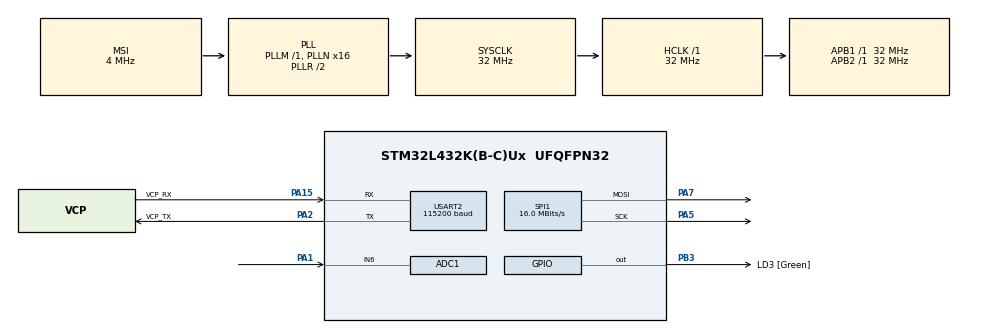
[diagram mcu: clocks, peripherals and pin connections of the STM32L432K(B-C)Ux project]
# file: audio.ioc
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ADC1.Channel-0\#ChannelRegularConversion=ADC_CHANNEL_6
ADC1.ExternalTrigConv=ADC_EXTERNALTRIG_T1_TRGO
ADC1.NbrOfConversionFlag=1
ADC1.OffsetNumber-0\#ChannelRegularConversion=ADC_OFFSET_NONE
ADC1.Rank-0\#ChannelRegularConversion=1
ADC1.Resolution=ADC_RESOLUTION_8B
ADC1.SamplingTime-0\#ChannelRegularConversion=ADC_SAMPLETIME_2CYCLES_5
ADC1.master=1
Mcu.Family=STM32L4
Mcu.Name=STM32L432K(B-C)Ux
Mcu.Package=UFQFPN32
NVIC.ADC1_IRQn=true\:0\:0\:false\:false\:true\:true\:true\:true
NVIC.PriorityGroup=NVIC_PRIORITYGROUP_4
PA0.GPIO_Label=MCO [High speed clock in]
PA0.Mode=HSE-External-Clock-Source-for-LittleOrca
PA0.Signal=RCC_CK_IN
PA1.Signal=ADCx_IN6
PA13\ (JTMS-SWDIO).GPIO_Label=SWDIO
PA13\ (JTMS-SWDIO).Mode=Serial_Wire
PA13\ (JTMS-SWDIO).Signal=SYS_JTMS-SWDIO
PA14\ (JTCK-SWCLK).GPIO_Label=SWCLK
PA14\ (JTCK-SWCLK).Mode=Serial_Wire
PA14\ (JTCK-SWCLK).Signal=SYS_JTCK-SWCLK
PA15\ (JTDI).GPIO_Label=VCP_RX
PA15\ (JTDI).Mode=Asynchronous
PA15\ (JTDI).Signal=USART2_RX
PA2.GPIO_Label=VCP_TX
PA2.Mode=Asynchronous
PA2.Signal=USART2_TX
PA5.Mode=TX_Only_Simplex_Unidirect_Master
PA5.Signal=SPI1_SCK
PA7.Mode=TX_Only_Simplex_Unidirect_Master
PA7.Signal=SPI1_MOSI
PB3\ (JTDO-TRACESWO).GPIO_Label=LD3 [Green]
PB3\ (JTDO-TRACESWO).Signal=GPIO_Output
PC14-OSC32_IN\ (PC14).Mode=LSE-External-Oscillator
PC14-OSC32_IN\ (PC14).Signal=RCC_OSC32_IN
PC15-OSC32_OUT\ (PC15).Mode=LSE-External-Oscillator
PC15-OSC32_OUT\ (PC15).Signal=RCC_OSC32_OUT
ProjectManager.HeapSize=0x200
ProjectManager.StackSize=0x400
ProjectManager.TargetToolchain=STM32CubeIDE
RCC.ADCFreq_Value=32000000
RCC.AHBFreq_Value=32000000
RCC.APB1Freq_Value=32000000
RCC.APB1TimFreq_Value=32000000
RCC.APB2Freq_Value=32000000
RCC.APB2TimFreq_Value=32000000
RCC.CortexFreq_Value=32000000
RCC.HCLKFreq_Value=32000000
RCC.HSE_VALUE=8000000
RCC.HSI16_VALUE=16000000
RCC.HSI48_VALUE=48000000
RCC.HSI_VALUE=16000000
RCC.MSI_VALUE=4000000
RCC.PLLMUL=RCC_PLLMUL_4
RCC.PLLN=16
RCC.PLLSAI1N=16
RCC.SYSCLKFreq_VALUE=32000000
RCC.SYSCLKSource=RCC_SYSCLKSOURCE_PLLCLK
RCC.USBFreq_Value=32000000
RCC.VCOOutputFreq_Value=64000000
SH.ADCx_IN6.0=ADC1_IN6,IN6-Single-Ended
SPI1.CalculateBaudRate=16.0 MBits/s
SPI1.DataSize=SPI_DATASIZE_8BIT
SPI1.Direction=SPI_DIRECTION_2LINES
SPI1.Mode=SPI_MODE_MASTER
SPI1.VirtualType=VM_MASTER
TIM1.Period=100
TIM1.Prescaler=31
TIM1.TIM_MasterOutputTrigger=TIM_TRGO_UPDATE
USART2.BaudRate=115200
USART2.VirtualMode-Asynchronous=VM_ASYNC
VP_TIM1_VS_ClockSourceINT.Mode=Internal
board=NUCLEO-L432KC

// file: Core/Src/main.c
/* USER CODE BEGIN Header */
/**
  ******************************************************************************
  * @file           : main.c
  * @brief          : Main program body
  ******************************************************************************
  * @attention
  *
  * Copyright (c) 2026 STMicroelectronics.
  * All rights reserved.
  *
  * This software is licensed under terms that can be found in the LICENSE file
  * in the root directory of this software component.
  * If no LICENSE file comes with this software, it is provided AS-IS.
  *
  ******************************************************************************
  */
/* USER CODE END Header */
#include "main.h"

ADC_HandleTypeDef hadc1;

TIM_HandleTypeDef htim1;

UART_HandleTypeDef huart2;

void SystemClock_Config(void);
static void MX_GPIO_Init(void);
static void MX_USART2_UART_Init(void);
static void MX_ADC1_Init(void);
static void MX_TIM1_Init(void);
static void MX_SPI1_Init(void);
/* USER CODE BEGIN PFP */
static void SPI1_WriteByte (uint8_t tx_byte){
	while(!LL_SPI_IsActiveFlag_TXE(SPI1)){;}
	LL_SPI_TransmitData8(SPI1, tx_byte);
	while(LL_SPI_IsActiveFlag_BSY(SPI1)){;}
	HAL_GPIO_WritePin(LD3_GPIO_Port, LD3_Pin, 1);
	LL_SPI_ClearFlag_OVR(SPI1);
}
/* USER CODE END PFP */

int main(void)
{

  /* MCU Configuration--------------------------------------------------------*/

  /* Reset of all peripherals, Initializes the Flash interface and the Systick. */
  HAL_Init();

  /* Configure the system clock */
  SystemClock_Config();

  /* Initialize all configured peripherals */
  MX_GPIO_Init();
  MX_USART2_UART_Init();
  MX_ADC1_Init();
  MX_TIM1_Init();
  MX_SPI1_Init();

  /* Infinite loop */
  /* USER CODE BEGIN WHILE */
  HAL_ADC_Start_IT(&hadc1);
  HAL_TIM_Base_Start(&htim1);
  LL_SPI_Enable(SPI1);
  while (1)
  {
    /* USER CODE END WHILE */

    /* USER CODE BEGIN 3 */
	  HAL_GPIO_WritePin(LD3_GPIO_Port, LD3_Pin, 0);
  }
  /* USER CODE END 3 */
}

void SystemClock_Config(void)
{
  RCC_OscInitTypeDef RCC_OscInitStruct = {0};
  RCC_ClkInitTypeDef RCC_ClkInitStruct = {0};

  /** Configure the main internal regulator output voltage
  */
  if (HAL_PWREx_ControlVoltageScaling(PWR_REGULATOR_VOLTAGE_SCALE1) != HAL_OK)
  {
    Error_Handler();
  }

  /** Configure LSE Drive Capability
  */
  HAL_PWR_EnableBkUpAccess();
  __HAL_RCC_LSEDRIVE_CONFIG(RCC_LSEDRIVE_LOW);

  /** Initializes the RCC Oscillators according to the specified parameters
  * in the RCC_OscInitTypeDef structure.
  */
  RCC_OscInitStruct.OscillatorType = RCC_OSCILLATORTYPE_LSE|RCC_OSCILLATORTYPE_MSI;
  RCC_OscInitStruct.LSEState = RCC_LSE_ON;
  RCC_OscInitStruct.MSIState = RCC_MSI_ON;
  RCC_OscInitStruct.MSICalibrationValue = 0;
  RCC_OscInitStruct.MSIClockRange = RCC_MSIRANGE_6;
  RCC_OscInitStruct.PLL.PLLState = RCC_PLL_ON;
  RCC_OscInitStruct.PLL.PLLSource = RCC_PLLSOURCE_MSI;
  RCC_OscInitStruct.PLL.PLLM = 1;
  RCC_OscInitStruct.PLL.PLLN = 16;
  RCC_OscInitStruct.PLL.PLLP = RCC_PLLP_DIV7;
  RCC_OscInitStruct.PLL.PLLQ = RCC_PLLQ_DIV2;
  RCC_OscInitStruct.PLL.PLLR = RCC_PLLR_DIV2;
  if (HAL_RCC_OscConfig(&RCC_OscInitStruct) != HAL_OK)
  {
    Error_Handler();
  }

  /** Initializes the CPU, AHB and APB buses clocks
  */
  RCC_ClkInitStruct.ClockType = RCC_CLOCKTYPE_HCLK|RCC_CLOCKTYPE_SYSCLK
                              |RCC_CLOCKTYPE_PCLK1|RCC_CLOCKTYPE_PCLK2;
  RCC_ClkInitStruct.SYSCLKSource = RCC_SYSCLKSOURCE_PLLCLK;
  RCC_ClkInitStruct.AHBCLKDivider = RCC_SYSCLK_DIV1;
  RCC_ClkInitStruct.APB1CLKDivider = RCC_HCLK_DIV1;
  RCC_ClkInitStruct.APB2CLKDivider = RCC_HCLK_DIV1;

  if (HAL_RCC_ClockConfig(&RCC_ClkInitStruct, FLASH_LATENCY_1) != HAL_OK)
  {
    Error_Handler();
  }

  /** Enable MSI Auto calibration
  */
  HAL_RCCEx_EnableMSIPLLMode();
}

static void MX_ADC1_Init(void)
{

  ADC_ChannelConfTypeDef sConfig = {0};

  /** Common config
  */
  hadc1.Instance = ADC1;
  hadc1.Init.ClockPrescaler = ADC_CLOCK_ASYNC_DIV1;
  hadc1.Init.Resolution = ADC_RESOLUTION_8B;
  hadc1.Init.DataAlign = ADC_DATAALIGN_RIGHT;
  hadc1.Init.ScanConvMode = ADC_SCAN_DISABLE;
  hadc1.Init.EOCSelection = ADC_EOC_SINGLE_CONV;
  hadc1.Init.LowPowerAutoWait = DISABLE;
  hadc1.Init.ContinuousConvMode = DISABLE;
  hadc1.Init.NbrOfConversion = 1;
  hadc1.Init.DiscontinuousConvMode = DISABLE;
  hadc1.Init.ExternalTrigConv = ADC_EXTERNALTRIG_T1_TRGO;
  hadc1.Init.ExternalTrigConvEdge = ADC_EXTERNALTRIGCONVEDGE_RISING;
  hadc1.Init.DMAContinuousRequests = DISABLE;
  hadc1.Init.Overrun = ADC_OVR_DATA_PRESERVED;
  hadc1.Init.OversamplingMode = DISABLE;
  if (HAL_ADC_Init(&hadc1) != HAL_OK)
  {
    Error_Handler();
  }

  /** Configure Regular Channel
  */
  sConfig.Channel = ADC_CHANNEL_6;
  sConfig.Rank = ADC_REGULAR_RANK_1;
  sConfig.SamplingTime = ADC_SAMPLETIME_2CYCLES_5;
  sConfig.SingleDiff = ADC_SINGLE_ENDED;
  sConfig.OffsetNumber = ADC_OFFSET_NONE;
  sConfig.Offset = 0;
  if (HAL_ADC_ConfigChannel(&hadc1, &sConfig) != HAL_OK)
  {
    Error_Handler();
  }

}

static void MX_SPI1_Init(void)
{

  LL_SPI_InitTypeDef SPI_InitStruct = {0};

  LL_GPIO_InitTypeDef GPIO_InitStruct = {0};

  /* Peripheral clock enable */
  LL_APB2_GRP1_EnableClock(LL_APB2_GRP1_PERIPH_SPI1);

  LL_AHB2_GRP1_EnableClock(LL_AHB2_GRP1_PERIPH_GPIOA);
  /**SPI1 GPIO Configuration
  PA5   ------> SPI1_SCK
  PA7   ------> SPI1_MOSI
  */
  GPIO_InitStruct.Pin = LL_GPIO_PIN_5|LL_GPIO_PIN_7;
  GPIO_InitStruct.Mode = LL_GPIO_MODE_ALTERNATE;
  GPIO_InitStruct.Speed = LL_GPIO_SPEED_FREQ_VERY_HIGH;
  GPIO_InitStruct.OutputType = LL_GPIO_OUTPUT_PUSHPULL;
  GPIO_InitStruct.Pull = LL_GPIO_PULL_NO;
  GPIO_InitStruct.Alternate = LL_GPIO_AF_5;
  LL_GPIO_Init(GPIOA, &GPIO_InitStruct);

  /* SPI1 parameter configuration*/
  SPI_InitStruct.TransferDirection = LL_SPI_FULL_DUPLEX;
  SPI_InitStruct.Mode = LL_SPI_MODE_MASTER;
  SPI_InitStruct.DataWidth = LL_SPI_DATAWIDTH_8BIT;
  SPI_InitStruct.ClockPolarity = LL_SPI_POLARITY_LOW;
  SPI_InitStruct.ClockPhase = LL_SPI_PHASE_1EDGE;
  SPI_InitStruct.NSS = LL_SPI_NSS_SOFT;
  SPI_InitStruct.BaudRate = LL_SPI_BAUDRATEPRESCALER_DIV2;
  SPI_InitStruct.BitOrder = LL_SPI_MSB_FIRST;
  SPI_InitStruct.CRCCalculation = LL_SPI_CRCCALCULATION_DISABLE;
  SPI_InitStruct.CRCPoly = 7;
  LL_SPI_Init(SPI1, &SPI_InitStruct);
  LL_SPI_SetStandard(SPI1, LL_SPI_PROTOCOL_MOTOROLA);
  LL_SPI_EnableNSSPulseMgt(SPI1);

}

static void MX_TIM1_Init(void)
{

  TIM_ClockConfigTypeDef sClockSourceConfig = {0};
  TIM_MasterConfigTypeDef sMasterConfig = {0};

  htim1.Instance = TIM1;
  htim1.Init.Prescaler = 31;
  htim1.Init.CounterMode = TIM_COUNTERMODE_UP;
  htim1.Init.Period = 100;
  htim1.Init.ClockDivision = TIM_CLOCKDIVISION_DIV1;
  htim1.Init.RepetitionCounter = 0;
  htim1.Init.AutoReloadPreload = TIM_AUTORELOAD_PRELOAD_DISABLE;
  if (HAL_TIM_Base_Init(&htim1) != HAL_OK)
  {
    Error_Handler();
  }
  sClockSourceConfig.ClockSource = TIM_CLOCKSOURCE_INTERNAL;
  if (HAL_TIM_ConfigClockSource(&htim1, &sClockSourceConfig) != HAL_OK)
  {
    Error_Handler();
  }
  sMasterConfig.MasterOutputTrigger = TIM_TRGO_UPDATE;
  sMasterConfig.MasterOutputTrigger2 = TIM_TRGO2_RESET;
  sMasterConfig.MasterSlaveMode = TIM_MASTERSLAVEMODE_DISABLE;
  if (HAL_TIMEx_MasterConfigSynchronization(&htim1, &sMasterConfig) != HAL_OK)
  {
    Error_Handler();
  }

}

static void MX_USART2_UART_Init(void)
{

  huart2.Instance = USART2;
  huart2.Init.BaudRate = 115200;
  huart2.Init.WordLength = UART_WORDLENGTH_8B;
  huart2.Init.StopBits = UART_STOPBITS_1;
  huart2.Init.Parity = UART_PARITY_NONE;
  huart2.Init.Mode = UART_MODE_TX_RX;
  huart2.Init.HwFlowCtl = UART_HWCONTROL_NONE;
  huart2.Init.OverSampling = UART_OVERSAMPLING_16;
  huart2.Init.OneBitSampling = UART_ONE_BIT_SAMPLE_DISABLE;
  huart2.AdvancedInit.AdvFeatureInit = UART_ADVFEATURE_NO_INIT;
  if (HAL_UART_Init(&huart2) != HAL_OK)
  {
    Error_Handler();
  }

}

static void MX_GPIO_Init(void)
{
  GPIO_InitTypeDef GPIO_InitStruct = {0};

  /* GPIO Ports Clock Enable */
  __HAL_RCC_GPIOC_CLK_ENABLE();
  __HAL_RCC_GPIOA_CLK_ENABLE();
  __HAL_RCC_GPIOB_CLK_ENABLE();

  /*Configure GPIO pin Output Level */
  HAL_GPIO_WritePin(LD3_GPIO_Port, LD3_Pin, GPIO_PIN_RESET);

  /*Configure GPIO pin : LD3_Pin */
  GPIO_InitStruct.Pin = LD3_Pin;
  GPIO_InitStruct.Mode = GPIO_MODE_OUTPUT_PP;
  GPIO_InitStruct.Pull = GPIO_NOPULL;
  GPIO_InitStruct.Speed = GPIO_SPEED_FREQ_LOW;
  HAL_GPIO_Init(LD3_GPIO_Port, &GPIO_InitStruct);

}

/* USER CODE BEGIN 4 */
void HAL_ADC_ConvCpltCallback(ADC_HandleTypeDef * hadc1) {
  uint8_t buffer[1];
  buffer[0] = HAL_ADC_GetValue(hadc1);
  uint8_t test = 4;
  SPI1_WriteByte(test);
  HAL_GPIO_WritePin(LD3_GPIO_Port, LD3_Pin, 0);
}
/* USER CODE END 4 */

void Error_Handler(void)
{
  __disable_irq();
  while (1)
  {
  }
}
